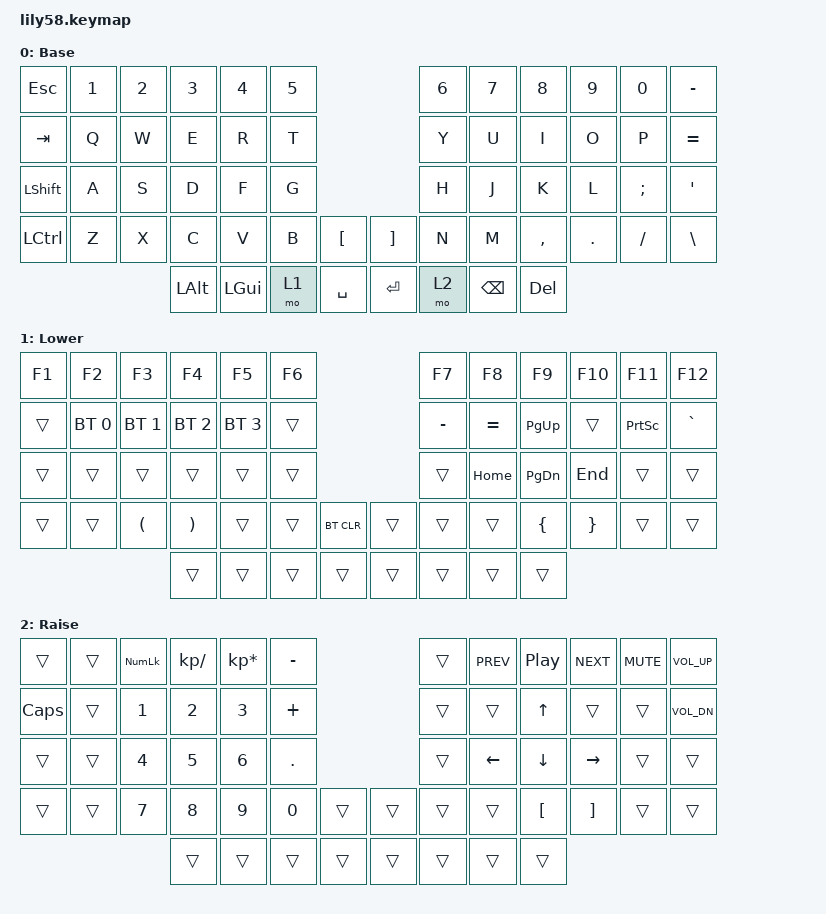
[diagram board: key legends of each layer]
/*
 * Copyright (c) 2020 The ZMK Contributors
 *
 * SPDX-License-Identifier: MIT
 */

#include <behaviors.dtsi>
#include <dt-bindings/zmk/bt.h>
#include <dt-bindings/zmk/keys.h>

/ {
    keymap {
        compatible = "zmk,keymap";

        default_layer {
            // ------------------------------------------------------------------------------------------------------------
            // |  ESC  |  1  |  2  |  3   |  4   |  5   |                   |  6   |  7    |  8    |  9   |   0   |   `   |
            // |  TAB  |  Q  |  W  |  E   |  R   |  T   |                   |  Y   |  U    |  I    |  O   |   P   |   -   |
            // |  CTRL |  A  |  S  |  D   |  F   |  G   |                   |  H   |  J    |  K    |  L   |   ;   |   '   |
            // | SHIFT |  Z  |  X  |  C   |  V   |  B   |   "["  |  |  "]"  |  N   |  M    |  ,    |  .   |   /   | SHIFT |
            //                     | ALT  | GUI  | LOWER|  SPACE |  | ENTER | RAISE| BSPC  | GUI   |

            display-name = "Base";
            bindings = <
&kp ESC         &kp N1  &kp N2  &kp N3    &kp N4    &kp N5                         &kp N6  &kp N7    &kp N8      &kp N9   &kp N0    &kp MINUS
&kp TAB         &kp Q   &kp W   &kp E     &kp R     &kp T                          &kp Y   &kp U     &kp I       &kp O    &kp P     &kp EQUAL
&kp LEFT_SHIFT  &kp A   &kp S   &kp D     &kp F     &kp G                          &kp H   &kp J     &kp K       &kp L    &kp SEMI  &kp SQT
&kp LCTRL       &kp Z   &kp X   &kp C     &kp V     &kp B   &kp LBKT     &kp RBKT  &kp N   &kp M     &kp COMMA   &kp DOT  &kp FSLH  &kp BSLH
                                &kp LALT  &kp LGUI  &mo 1   &kp SPACE    &kp RET   &mo 2   &kp BSPC  &kp DELETE
            >;
        };

        lower_layer {
            // ------------------------------------------------------------------------------------------------------------
            // | BTCLR | BT1 | BT2 |  BT3 |  BT4 |  BT5 |                   |      |       |       |      |       |       |
            // |  F1   |  F2 |  F3 |  F4  |  F5  |  F6  |                   |  F7  |  F8   |  F9   |  F10 |  F11  |  F12  |
            // |   `   |  !  |  @  |  #   |  $   |  %   |                   |  ^   |  &    |  *    |  (   |   )   |   ~   |
            // |       |     |     |      |      |      |        |  |       |      |  _    |  +    |  {   |   }   |  "|"  |
            //                     |      |      |      |        |  |       |      |       |       |

            display-name = "Lower";
            bindings = <
&kp F1  &kp F2        &kp F3                &kp F4                 &kp F5        &kp F6                        &kp F7     &kp F8     &kp F9          &kp F10          &kp F11          &kp F12
&trans  &bt BT_SEL 0  &bt BT_SEL 1          &bt BT_SEL 2           &bt BT_SEL 3  &trans                        &kp MINUS  &kp EQUAL  &kp PG_UP       &trans           &kp PRINTSCREEN  &kp GRAVE
&trans  &trans        &trans                &trans                 &trans        &trans                        &trans     &kp HOME   &kp PG_DN       &kp END          &trans           &trans
&trans  &trans        &kp LEFT_PARENTHESIS  &kp RIGHT_PARENTHESIS  &trans        &trans  &bt BT_CLR    &trans  &trans     &trans     &kp LEFT_BRACE  &kp RIGHT_BRACE  &trans           &trans
                                            &trans                 &trans        &trans  &trans        &trans  &trans     &trans     &trans
            >;
        };

        raise_layer {
            // ------------------------------------------------------------------------------------------------------------
            // |       |     |     |      |      |      |                   |      |       |       |      |       |       |
            // |   `   |  1  |  2  |  3   |  4   |  5   |                   |  6   |   7   |   8   |  9   |   0   |       |
            // |   F1  |  F2 |  F3 |  F4  |  F5  |  F6  |                   |      |   <-  |   v   |  ^   |  ->   |       |
            // |   F7  |  F8 |  F9 |  F10 |  F11 |  F12 |        |  |       |  +   |   -   |   =   |  [   |   ]   |   \   |
            //                     |      |      |      |        |  |       |      |       |       |

            display-name = "Raise";
            bindings = <
&trans        &trans  &kp KP_NUMLOCK  &kp KP_DIVIDE  &kp KP_MULTIPLY  &kp MINUS                    &trans  &kp C_PREV  &kp C_PLAY_PAUSE  &kp C_NEXT         &kp K_MUTE  &kp C_VOLUME_UP
&kp CAPSLOCK  &trans  &kp NUMBER_1    &kp NUMBER_2   &kp NUMBER_3     &kp PLUS                     &trans  &trans      &kp UP_ARROW      &trans             &trans      &kp C_VOL_DN
&trans        &trans  &kp NUMBER_4    &kp N5         &kp NUMBER_6     &kp DOT                      &trans  &kp LEFT    &kp DOWN          &kp RIGHT          &trans      &trans
&trans        &trans  &kp N7          &kp N8         &kp N9           &kp N0     &trans    &trans  &trans  &trans      &kp LEFT_BRACKET  &kp RIGHT_BRACKET  &trans      &trans
                                      &trans         &trans           &trans     &trans    &trans  &trans  &trans      &trans
            >;
        };

        extra_1 { status = "reserved"; };

        extra_2 { status = "reserved"; };

        extra_3 { status = "reserved"; };
    };
};
